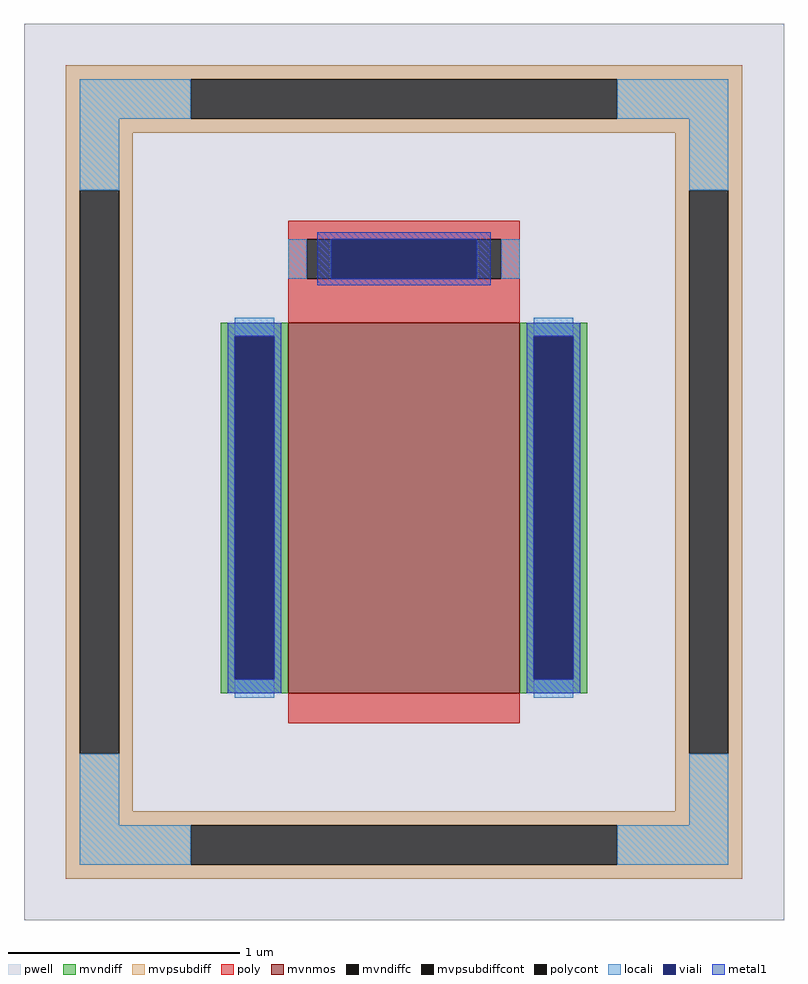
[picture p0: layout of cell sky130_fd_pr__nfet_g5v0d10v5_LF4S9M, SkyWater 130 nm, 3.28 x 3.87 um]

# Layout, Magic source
magic
tech sky130A
magscale 1 2
<< pwell >>
rect -328 -387 328 387
<< mvnmos >>
rect -100 -191 100 129
<< mvndiff >>
rect -158 117 -100 129
rect -158 -179 -146 117
rect -112 -179 -100 117
rect -158 -191 -100 -179
rect 100 117 158 129
rect 100 -179 112 117
rect 146 -179 158 117
rect 100 -191 158 -179
<< mvndiffc >>
rect -146 -179 -112 117
rect 112 -179 146 117
<< mvpsubdiff >>
rect -292 339 292 351
rect -292 305 -184 339
rect 184 305 292 339
rect -292 293 292 305
rect -292 243 -234 293
rect -292 -243 -280 243
rect -246 -243 -234 243
rect 234 243 292 293
rect -292 -293 -234 -243
rect 234 -243 246 243
rect 280 -243 292 243
rect 234 -293 292 -243
rect -292 -305 292 -293
rect -292 -339 -184 -305
rect 184 -339 292 -305
rect -292 -351 292 -339
<< mvpsubdiffcont >>
rect -184 305 184 339
rect -280 -243 -246 243
rect 246 -243 280 243
rect -184 -339 184 -305
<< poly >>
rect -100 201 100 217
rect -100 167 -84 201
rect 84 167 100 201
rect -100 129 100 167
rect -100 -217 100 -191
<< polycont >>
rect -84 167 84 201
<< locali >>
rect -280 305 -184 339
rect 184 305 280 339
rect -280 243 -246 305
rect 246 243 280 305
rect -100 167 -84 201
rect 84 167 100 201
rect -146 117 -112 133
rect -146 -195 -112 -179
rect 112 117 146 133
rect 112 -195 146 -179
rect -280 -305 -246 -243
rect 246 -305 280 -243
rect -280 -339 -184 -305
rect 184 -339 280 -305
<< viali >>
rect -63 167 63 201
rect -146 -179 -112 117
rect 112 -179 146 117
<< metal1 >>
rect -75 201 75 207
rect -75 167 -63 201
rect 63 167 75 201
rect -75 161 75 167
rect -152 117 -106 129
rect -152 -179 -146 117
rect -112 -179 -106 117
rect -152 -191 -106 -179
rect 106 117 152 129
rect 106 -179 112 117
rect 146 -179 152 117
rect 106 -191 152 -179
<< properties >>
string FIXED_BBOX -263 -322 263 322
string gencell sky130_fd_pr__nfet_g5v0d10v5
string library sky130
string parameters w 1.6 l 1 m 1 nf 1 diffcov 100 polycov 100 guard 1 glc 1 grc 1 gtc 1 gbc 1 tbcov 100 rlcov 100 topc 1 botc 0 poverlap 0 doverlap 1 lmin 0.50 wmin 0.42 compatible {sky130_fd_pr__nfet_01v8 sky130_fd_pr__nfet_01v8_lvt  sky130_fd_bs_flash__special_sonosfet_star  sky130_fd_pr__nfet_g5v0d10v5 sky130_fd_pr__nfet_05v0_nvt  sky130_fd_pr__nfet_03v3_nvt} full_metal 1 viasrc 100 viadrn 100 viagate 75 viagb 0 viagr 0 viagl 0 viagt 0
<< end >>
